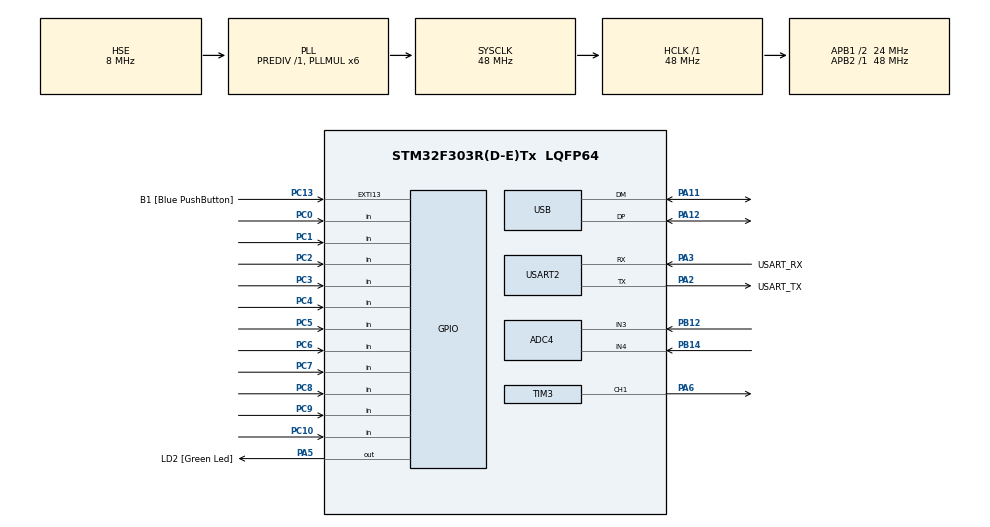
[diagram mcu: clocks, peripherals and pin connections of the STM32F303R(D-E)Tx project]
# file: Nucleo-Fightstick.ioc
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ADC4.Channel-1\#ChannelRegularConversion=ADC_CHANNEL_3
ADC4.NbrOfConversionFlag=1
ADC4.Offset-1\#ChannelRegularConversion=0
ADC4.OffsetNumber-1\#ChannelRegularConversion=ADC_OFFSET_NONE
ADC4.Rank-1\#ChannelRegularConversion=1
ADC4.SamplingTime-1\#ChannelRegularConversion=ADC_SAMPLETIME_1CYCLE_5
Mcu.Family=STM32F3
Mcu.Name=STM32F303R(D-E)Tx
Mcu.Package=LQFP64
NVIC.PriorityGroup=NVIC_PRIORITYGROUP_0
NVIC.USB_LP_CAN_RX0_IRQn=true\:0\:0\:false\:false\:true\:false\:true\:true
PA11.Mode=Device
PA11.Signal=USB_DM
PA12.Mode=Device
PA12.Signal=USB_DP
PA13.GPIO_Label=TMS
PA13.Mode=Serial_Wire
PA13.Signal=SYS_JTMS-SWDIO
PA14.GPIO_Label=TCK
PA14.Mode=Serial_Wire
PA14.Signal=SYS_JTCK-SWCLK
PA2.GPIO_Label=USART_TX
PA2.GPIO_Mode=GPIO_MODE_AF_PP
PA2.GPIO_PuPd=GPIO_NOPULL
PA2.GPIO_Speed=GPIO_SPEED_FREQ_LOW
PA2.Mode=Asynchronous
PA2.Signal=USART2_TX
PA3.GPIO_Label=USART_RX
PA3.GPIO_Mode=GPIO_MODE_AF_PP
PA3.GPIO_PuPd=GPIO_NOPULL
PA3.GPIO_Speed=GPIO_SPEED_FREQ_LOW
PA3.Mode=Asynchronous
PA3.Signal=USART2_RX
PA5.GPIO_Label=LD2 [Green Led]
PA5.GPIO_Mode=GPIO_MODE_OUTPUT_PP
PA5.GPIO_PuPd=GPIO_NOPULL
PA5.GPIO_Speed=GPIO_SPEED_FREQ_LOW
PA5.Signal=GPIO_Output
PA6.Signal=S_TIM3_CH1
PB12.Mode=IN3-Single-Ended
PB12.Signal=ADC4_IN3
PB14.Mode=IN4-Single-Ended
PB14.Signal=ADC4_IN4
PB3.Signal=SYS_JTDO-TRACESWO
PC0.Signal=GPIO_Input
PC1.Signal=GPIO_Input
PC10.Signal=GPIO_Input
PC13.GPIO_Label=B1 [Blue PushButton]
PC13.GPIO_ModeDefaultEXTI=GPIO_MODE_IT_FALLING
PC13.Signal=GPXTI13
PC14-OSC32_IN.Mode=LSE-External-Oscillator
PC14-OSC32_IN.Signal=RCC_OSC32_IN
PC15-OSC32_OUT.Mode=LSE-External-Oscillator
PC15-OSC32_OUT.Signal=RCC_OSC32_OUT
PC2.Signal=GPIO_Input
PC3.Signal=GPIO_Input
PC4.Signal=GPIO_Input
PC5.Signal=GPIO_Input
PC6.Signal=GPIO_Input
PC7.Signal=GPIO_Input
PC8.Signal=GPIO_Input
PC9.Signal=GPIO_Input
PF0-OSC_IN.Mode=HSE-External-Oscillator
PF0-OSC_IN.Signal=RCC_OSC_IN
PF1-OSC_OUT.Mode=HSE-External-Oscillator
PF1-OSC_OUT.Signal=RCC_OSC_OUT
ProjectManager.HeapSize=0x200
ProjectManager.StackSize=0x400
ProjectManager.TargetToolchain=STM32CubeIDE
RCC.AHBFreq_Value=48000000
RCC.APB1CLKDivider=RCC_HCLK_DIV2
RCC.APB1Freq_Value=24000000
RCC.APB1TimFreq_Value=48000000
RCC.APB2Freq_Value=48000000
RCC.APB2TimFreq_Value=48000000
RCC.CortexFreq_Value=48000000
RCC.HCLKFreq_Value=48000000
RCC.HSE_VALUE=8000000
RCC.HSI_VALUE=8000000
RCC.PLLM=8
RCC.PLLMUL=RCC_PLL_MUL6
RCC.PLLN=336
RCC.PLLP=RCC_PLLP_DIV4
RCC.PLLQ=7
RCC.RCC_PLLsource_Clock_Source_FROM_HSE=RCC_HSE_PREDIV_DIV2
RCC.SYSCLKFreq_VALUE=48000000
RCC.SYSCLKSourceVirtual=RCC_SYSCLKSOURCE_PLLCLK
RCC.USBFreq_Value=48000000
SH.S_TIM3_CH1.0=TIM3_CH1,PWM Generation1 CH1
TIM3.Channel-PWM\ Generation1\ CH1=TIM_CHANNEL_1
USART2.VirtualMode-Asynchronous=VM_ASYNC
USB_DEVICE.CLASS_NAME_FS=CUSTOM_HID
USB_DEVICE.USBD_CUSTOMHID_OUTREPORT_BUF_SIZE=64
USB_DEVICE.USBD_CUSTOM_HID_REPORT_DESC_SIZE=33
USB_DEVICE.VirtualMode=CustomHid
USB_DEVICE.VirtualModeFS=Custom_Hid_FS
VP_TIM3_VS_ClockSourceINT.Mode=Internal
VP_USB_DEVICE_VS_USB_DEVICE_CUSTOM_HID_FS.Mode=CUSTOM_HID_FS
board=NUCLEO-F303RE

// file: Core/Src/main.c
/* USER CODE BEGIN Header */
/**
 ******************************************************************************
 * @file           : main.c
 * @brief          : Main program body
 ******************************************************************************
 * @attention
 *
 * Copyright (c) 2026 STMicroelectronics.
 * All rights reserved.
 *
 * This software is licensed under terms that can be found in the LICENSE file
 * in the root directory of this software component.
 * If no LICENSE file comes with this software, it is provided AS-IS.
 *
 ******************************************************************************
 */
/* USER CODE END Header */
#include "main.h"
#include "usb_device.h"
#include "usbd_customhid.h" // probably a bad idea but this is in online tutorial

ADC_HandleTypeDef hadc4;

TIM_HandleTypeDef htim3;

UART_HandleTypeDef huart2;

/* USER CODE BEGIN PV */
uint8_t txBuf[64];
uint8_t reportBuf[64];
volatile uint8_t buttonFlag = 0;
uint8_t flagRx = 0;

extern USBD_HandleTypeDef hUsbDeviceFS;
/* USER CODE END PV */

void SystemClock_Config(void);
static void MX_GPIO_Init(void);
static void MX_ADC4_Init(void);
static void MX_TIM3_Init(void);
static void MX_USART2_UART_Init(void);

int main(void) {

	/* MCU Configuration--------------------------------------------------------*/

	/* Reset of all peripherals, Initializes the Flash interface and the Systick. */
	HAL_Init();

	/* Configure the system clock */
	SystemClock_Config();

	/* Initialize all configured peripherals */
	MX_GPIO_Init();
	MX_ADC4_Init();
	MX_TIM3_Init();
	MX_USART2_UART_Init();
	MX_USB_DEVICE_Init();
	/* USER CODE BEGIN 2 */
	// Fill buffer with test data
	for (uint8_t i = 0; i < 64; i++) {
		txBuf[i] = i;
	}
	buttonFlag = 1;
	/* USER CODE END 2 */

	/* Infinite loop */
	/* USER CODE BEGIN WHILE */
	while (1) {
		if (flagRx == 1) {
			if (reportBuf[0] == 1) {
				HAL_GPIO_WritePin(LD2_GPIO_Port, LD2_Pin, GPIO_PIN_SET);	// Nucleo green LED on
			} else if (reportBuf[0] == 2) {
				HAL_GPIO_WritePin(LD2_GPIO_Port, LD2_Pin, GPIO_PIN_RESET);	// Nucleo green LED off
			}
			flagRx = 0;
		}
		USBD_CUSTOM_HID_SendReport(&hUsbDeviceFS, txBuf, 64);
		HAL_Delay(1000);
	}
	/* USER CODE END WHILE */

}

void SystemClock_Config(void) {
	RCC_OscInitTypeDef RCC_OscInitStruct = { 0 };
	RCC_ClkInitTypeDef RCC_ClkInitStruct = { 0 };
	RCC_PeriphCLKInitTypeDef PeriphClkInit = { 0 };

	/** Initializes the RCC Oscillators according to the specified parameters
	 * in the RCC_OscInitTypeDef structure.
	 */
	RCC_OscInitStruct.OscillatorType = RCC_OSCILLATORTYPE_HSE;
	RCC_OscInitStruct.HSEState = RCC_HSE_ON;
	RCC_OscInitStruct.HSIState = RCC_HSI_ON;
	RCC_OscInitStruct.PLL.PLLState = RCC_PLL_ON;
	RCC_OscInitStruct.PLL.PLLSource = RCC_PLLSOURCE_HSE;
	RCC_OscInitStruct.PLL.PLLMUL = RCC_PLL_MUL6;
	RCC_OscInitStruct.PLL.PREDIV = RCC_PREDIV_DIV1;
	if (HAL_RCC_OscConfig(&RCC_OscInitStruct) != HAL_OK) {
		Error_Handler();
	}

	/** Initializes the CPU, AHB and APB buses clocks
	 */
	RCC_ClkInitStruct.ClockType = RCC_CLOCKTYPE_HCLK | RCC_CLOCKTYPE_SYSCLK
			| RCC_CLOCKTYPE_PCLK1 | RCC_CLOCKTYPE_PCLK2;
	RCC_ClkInitStruct.SYSCLKSource = RCC_SYSCLKSOURCE_PLLCLK;
	RCC_ClkInitStruct.AHBCLKDivider = RCC_SYSCLK_DIV1;
	RCC_ClkInitStruct.APB1CLKDivider = RCC_HCLK_DIV2;
	RCC_ClkInitStruct.APB2CLKDivider = RCC_HCLK_DIV1;

	if (HAL_RCC_ClockConfig(&RCC_ClkInitStruct, FLASH_LATENCY_1) != HAL_OK) {
		Error_Handler();
	}
	PeriphClkInit.PeriphClockSelection = RCC_PERIPHCLK_USB
			| RCC_PERIPHCLK_USART2 | RCC_PERIPHCLK_ADC34 | RCC_PERIPHCLK_TIM34;
	PeriphClkInit.Usart2ClockSelection = RCC_USART2CLKSOURCE_PCLK1;
	PeriphClkInit.Adc34ClockSelection = RCC_ADC34PLLCLK_DIV1;
	PeriphClkInit.USBClockSelection = RCC_USBCLKSOURCE_PLL;
	PeriphClkInit.Tim34ClockSelection = RCC_TIM34CLK_HCLK;
	if (HAL_RCCEx_PeriphCLKConfig(&PeriphClkInit) != HAL_OK) {
		Error_Handler();
	}
}

static void MX_ADC4_Init(void) {

	ADC_ChannelConfTypeDef sConfig = { 0 };

	/** Common config
	 */
	hadc4.Instance = ADC4;
	hadc4.Init.ClockPrescaler = ADC_CLOCK_ASYNC_DIV1;
	hadc4.Init.Resolution = ADC_RESOLUTION_12B;
	hadc4.Init.ScanConvMode = ADC_SCAN_DISABLE;
	hadc4.Init.ContinuousConvMode = DISABLE;
	hadc4.Init.DiscontinuousConvMode = DISABLE;
	hadc4.Init.ExternalTrigConvEdge = ADC_EXTERNALTRIGCONVEDGE_NONE;
	hadc4.Init.ExternalTrigConv = ADC_SOFTWARE_START;
	hadc4.Init.DataAlign = ADC_DATAALIGN_RIGHT;
	hadc4.Init.NbrOfConversion = 1;
	hadc4.Init.DMAContinuousRequests = DISABLE;
	hadc4.Init.EOCSelection = ADC_EOC_SINGLE_CONV;
	hadc4.Init.LowPowerAutoWait = DISABLE;
	hadc4.Init.Overrun = ADC_OVR_DATA_OVERWRITTEN;
	if (HAL_ADC_Init(&hadc4) != HAL_OK) {
		Error_Handler();
	}

	/** Configure Regular Channel
	 */
	sConfig.Channel = ADC_CHANNEL_3;
	sConfig.Rank = ADC_REGULAR_RANK_1;
	sConfig.SingleDiff = ADC_SINGLE_ENDED;
	sConfig.SamplingTime = ADC_SAMPLETIME_1CYCLE_5;
	sConfig.OffsetNumber = ADC_OFFSET_NONE;
	sConfig.Offset = 0;
	if (HAL_ADC_ConfigChannel(&hadc4, &sConfig) != HAL_OK) {
		Error_Handler();
	}

}

static void MX_TIM3_Init(void) {

	TIM_ClockConfigTypeDef sClockSourceConfig = { 0 };
	TIM_MasterConfigTypeDef sMasterConfig = { 0 };
	TIM_OC_InitTypeDef sConfigOC = { 0 };

	htim3.Instance = TIM3;
	htim3.Init.Prescaler = 0;
	htim3.Init.CounterMode = TIM_COUNTERMODE_UP;
	htim3.Init.Period = 65535;
	htim3.Init.ClockDivision = TIM_CLOCKDIVISION_DIV1;
	htim3.Init.AutoReloadPreload = TIM_AUTORELOAD_PRELOAD_DISABLE;
	if (HAL_TIM_Base_Init(&htim3) != HAL_OK) {
		Error_Handler();
	}
	sClockSourceConfig.ClockSource = TIM_CLOCKSOURCE_INTERNAL;
	if (HAL_TIM_ConfigClockSource(&htim3, &sClockSourceConfig) != HAL_OK) {
		Error_Handler();
	}
	if (HAL_TIM_PWM_Init(&htim3) != HAL_OK) {
		Error_Handler();
	}
	sMasterConfig.MasterOutputTrigger = TIM_TRGO_RESET;
	sMasterConfig.MasterSlaveMode = TIM_MASTERSLAVEMODE_DISABLE;
	if (HAL_TIMEx_MasterConfigSynchronization(&htim3, &sMasterConfig)
			!= HAL_OK) {
		Error_Handler();
	}
	sConfigOC.OCMode = TIM_OCMODE_PWM1;
	sConfigOC.Pulse = 0;
	sConfigOC.OCPolarity = TIM_OCPOLARITY_HIGH;
	sConfigOC.OCFastMode = TIM_OCFAST_DISABLE;
	if (HAL_TIM_PWM_ConfigChannel(&htim3, &sConfigOC, TIM_CHANNEL_1)
			!= HAL_OK) {
		Error_Handler();
	}
	HAL_TIM_MspPostInit(&htim3);

}

static void MX_USART2_UART_Init(void) {

	huart2.Instance = USART2;
	huart2.Init.BaudRate = 38400;
	huart2.Init.WordLength = UART_WORDLENGTH_8B;
	huart2.Init.StopBits = UART_STOPBITS_1;
	huart2.Init.Parity = UART_PARITY_NONE;
	huart2.Init.Mode = UART_MODE_TX_RX;
	huart2.Init.HwFlowCtl = UART_HWCONTROL_NONE;
	huart2.Init.OverSampling = UART_OVERSAMPLING_16;
	huart2.Init.OneBitSampling = UART_ONE_BIT_SAMPLE_DISABLE;
	huart2.AdvancedInit.AdvFeatureInit = UART_ADVFEATURE_NO_INIT;
	if (HAL_UART_Init(&huart2) != HAL_OK) {
		Error_Handler();
	}

}

static void MX_GPIO_Init(void) {
	GPIO_InitTypeDef GPIO_InitStruct = { 0 };

	/* GPIO Ports Clock Enable */
	__HAL_RCC_GPIOC_CLK_ENABLE();
	__HAL_RCC_GPIOF_CLK_ENABLE();
	__HAL_RCC_GPIOA_CLK_ENABLE();
	__HAL_RCC_GPIOB_CLK_ENABLE();

	/*Configure GPIO pin Output Level */
	HAL_GPIO_WritePin(LD2_GPIO_Port, LD2_Pin, GPIO_PIN_RESET);

	/*Configure GPIO pin : B1_Pin */
	GPIO_InitStruct.Pin = B1_Pin;
	GPIO_InitStruct.Mode = GPIO_MODE_IT_FALLING;
	GPIO_InitStruct.Pull = GPIO_NOPULL;
	HAL_GPIO_Init(B1_GPIO_Port, &GPIO_InitStruct);

	/*Configure GPIO pins : PC0 PC1 PC2 PC3
	 PC4 PC5 PC6 PC7
	 PC8 PC9 PC10 */
	GPIO_InitStruct.Pin = GPIO_PIN_0 | GPIO_PIN_1 | GPIO_PIN_2 | GPIO_PIN_3
			| GPIO_PIN_4 | GPIO_PIN_5 | GPIO_PIN_6 | GPIO_PIN_7 | GPIO_PIN_8
			| GPIO_PIN_9 | GPIO_PIN_10;
	GPIO_InitStruct.Mode = GPIO_MODE_INPUT;
	GPIO_InitStruct.Pull = GPIO_NOPULL;
	HAL_GPIO_Init(GPIOC, &GPIO_InitStruct);

	/*Configure GPIO pin : LD2_Pin */
	GPIO_InitStruct.Pin = LD2_Pin;
	GPIO_InitStruct.Mode = GPIO_MODE_OUTPUT_PP;
	GPIO_InitStruct.Pull = GPIO_NOPULL;
	GPIO_InitStruct.Speed = GPIO_SPEED_FREQ_LOW;
	HAL_GPIO_Init(LD2_GPIO_Port, &GPIO_InitStruct);

}

void Error_Handler(void) {
	__disable_irq();
	while (1) {
	}
}
